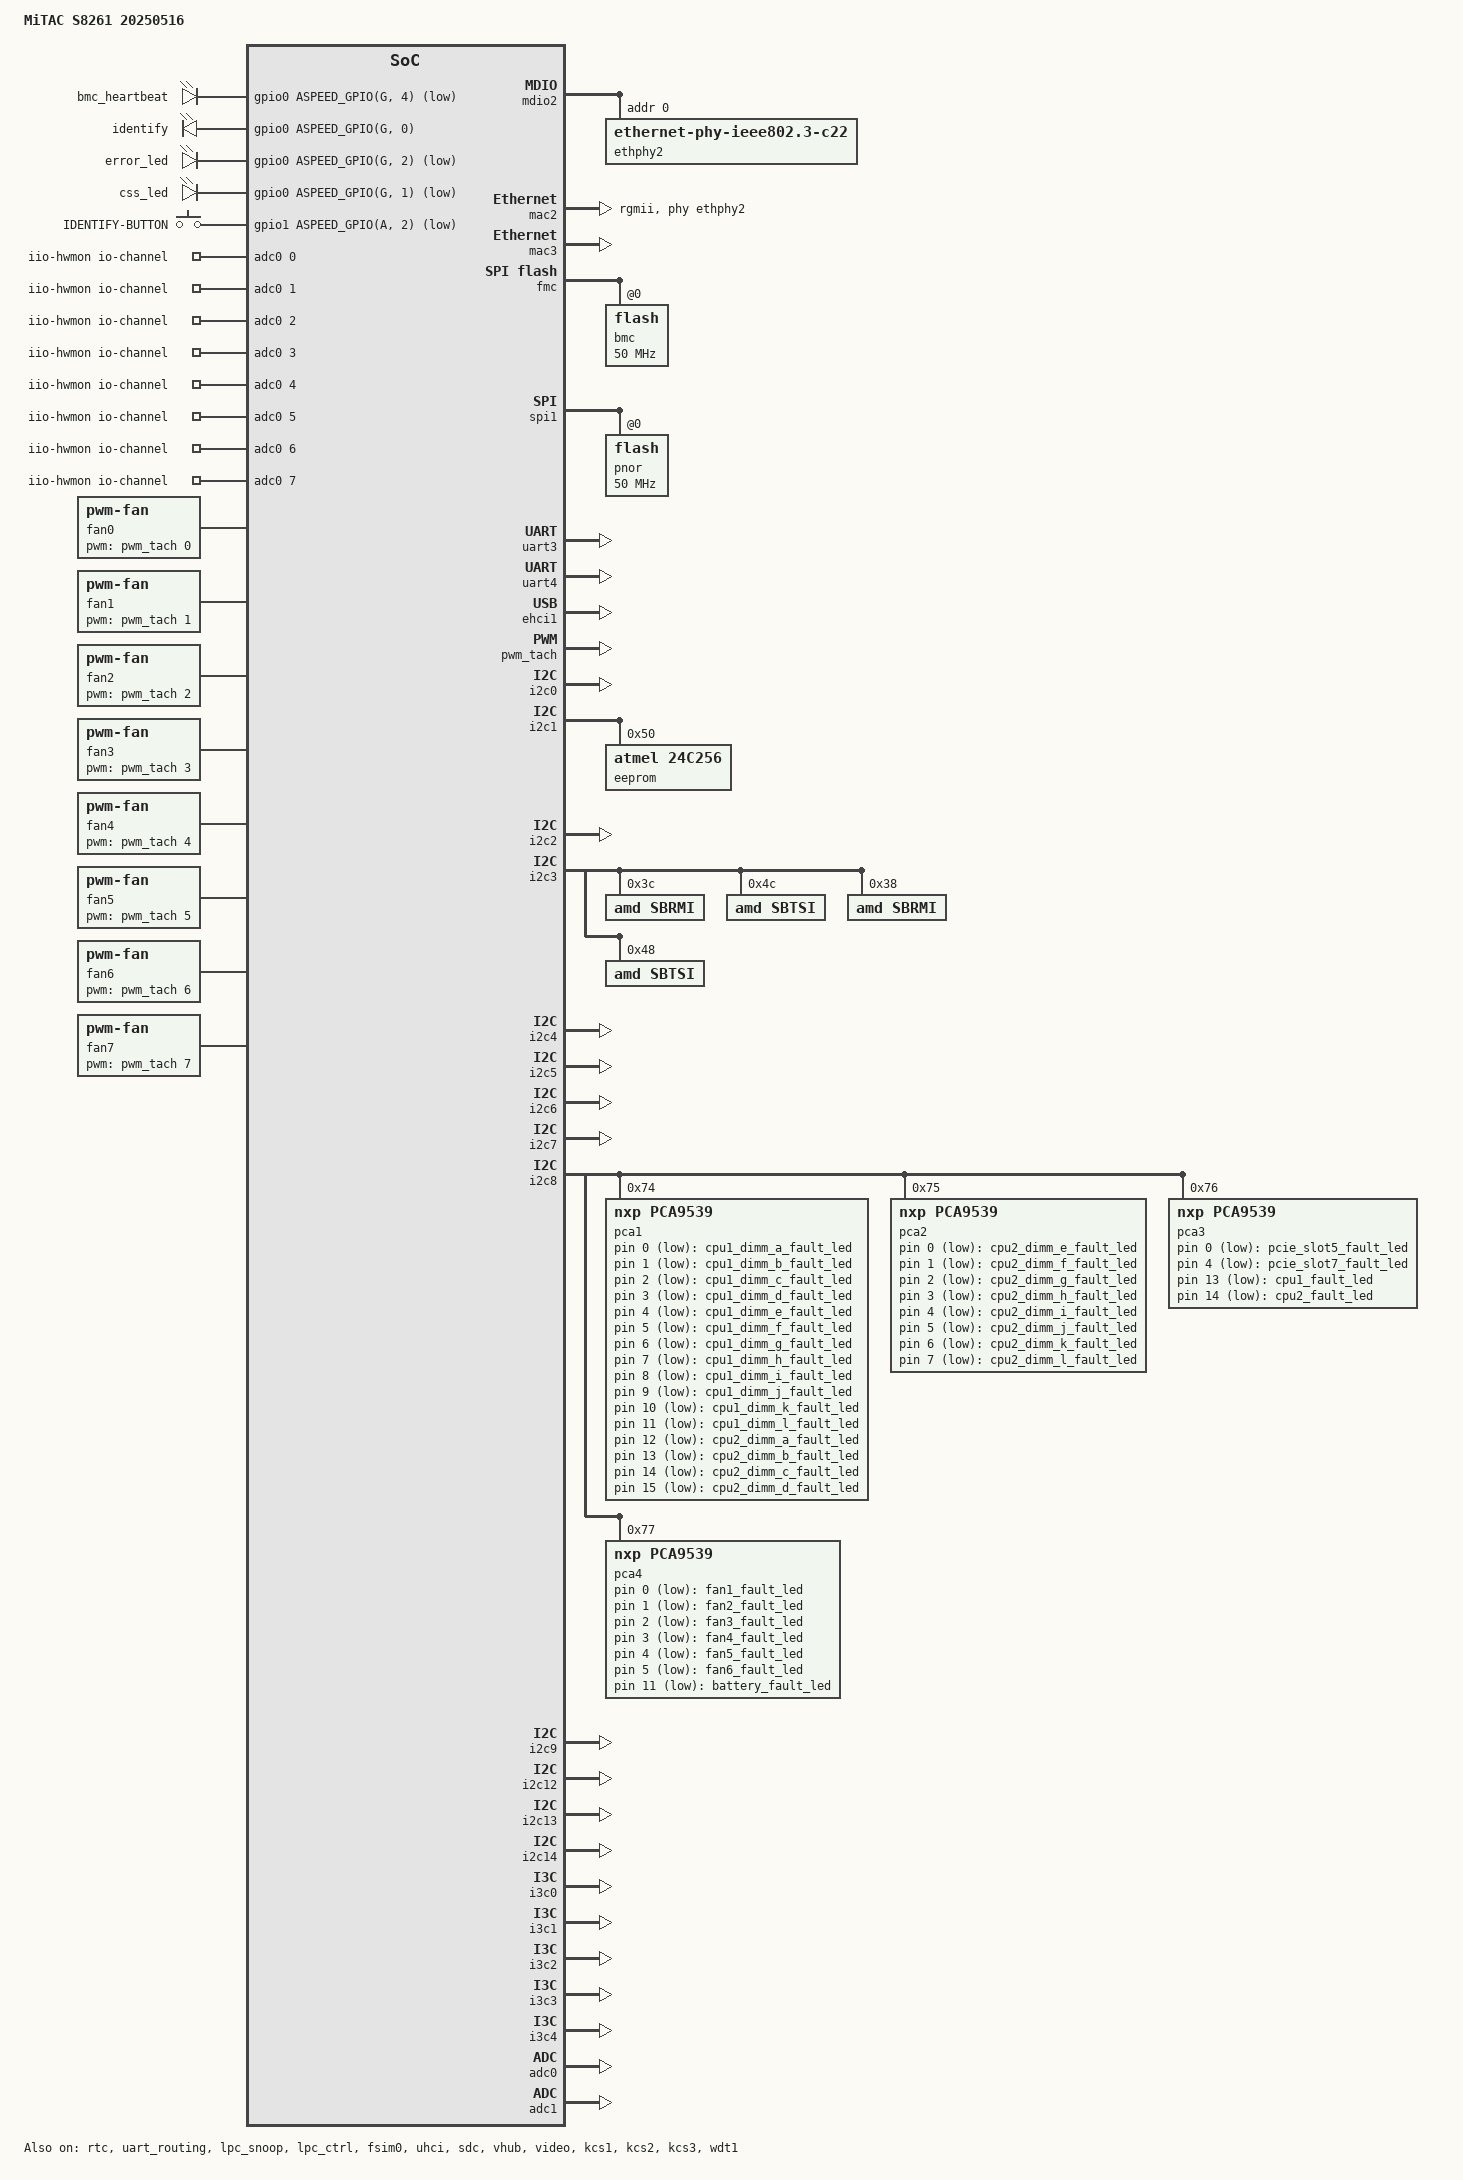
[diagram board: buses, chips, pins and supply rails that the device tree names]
// SPDX-License-Identifier: GPL-2.0-or-later
// Copyright 2019 IBM Corp.

/dts-v1/;

#include "aspeed-g6.dtsi"
#include <dt-bindings/gpio/aspeed-gpio.h>

/ {
	model = "MiTAC S8261 20250516";
	#include "aspeed-bmc-mitac-2600-reserved-memory.dtsi"

        leds {
                compatible = "gpio-leds";

                bmc_heartbeat {
                        gpios = <&gpio0 ASPEED_GPIO(G, 4) GPIO_ACTIVE_LOW>;
                        default-state = "on";
                };
                identify {
                        gpios = <&gpio0 ASPEED_GPIO(G, 0) GPIO_ACTIVE_HIGH>;
                        default-state = "off";
                };
                error_led {
                        gpios = <&gpio0 ASPEED_GPIO(G, 2) GPIO_ACTIVE_LOW>;
                        default-state = "off";
                };
                css_led {
                        gpios = <&gpio0 ASPEED_GPIO(G, 1) GPIO_ACTIVE_LOW>;
                        default-state = "off";
                };
                cpu1_dimm_a_fault_led {
                        gpios = <&pca1 0 GPIO_ACTIVE_LOW>;
                        default-state = "off";
                };
                cpu1_dimm_b_fault_led {
                        gpios = <&pca1 1 GPIO_ACTIVE_LOW>;
                        default-state = "off";
                };
                cpu1_dimm_c_fault_led {
                        gpios = <&pca1 2 GPIO_ACTIVE_LOW>;
                        default-state = "off";
                };
                cpu1_dimm_d_fault_led {
                        gpios = <&pca1 3 GPIO_ACTIVE_LOW>;
                        default-state = "off";
                };
                cpu1_dimm_e_fault_led {
                        gpios = <&pca1 4 GPIO_ACTIVE_LOW>;
                        default-state = "off";
                };
                cpu1_dimm_f_fault_led {
                        gpios = <&pca1 5 GPIO_ACTIVE_LOW>;
                        default-state = "off";
                };
                cpu1_dimm_g_fault_led {
                        gpios = <&pca1 6 GPIO_ACTIVE_LOW>;
                        default-state = "off";
                };
                cpu1_dimm_h_fault_led {
                        gpios = <&pca1 7 GPIO_ACTIVE_LOW>;
                        default-state = "off";
                };
                cpu1_dimm_i_fault_led {
                        gpios = <&pca1 8 GPIO_ACTIVE_LOW>;
                        default-state = "off";
                };
                cpu1_dimm_j_fault_led {
                        gpios = <&pca1 9 GPIO_ACTIVE_LOW>;
                        default-state = "off";
                };
                cpu1_dimm_k_fault_led {
                        gpios = <&pca1 10 GPIO_ACTIVE_LOW>;
                        default-state = "off";
                };
                cpu1_dimm_l_fault_led {
                        gpios = <&pca1 11 GPIO_ACTIVE_LOW>;
                        default-state = "off";
                };
                cpu2_dimm_a_fault_led {
                        gpios = <&pca1 12 GPIO_ACTIVE_LOW>;
                        default-state = "off";
                };
                cpu2_dimm_b_fault_led {
                        gpios = <&pca1 13 GPIO_ACTIVE_LOW>;
                        default-state = "off";
                };
                cpu2_dimm_c_fault_led {
                        gpios = <&pca1 14 GPIO_ACTIVE_LOW>;
                        default-state = "off";
                };
                cpu2_dimm_d_fault_led {
                        gpios = <&pca1 15 GPIO_ACTIVE_LOW>;
                        default-state = "off";
                };
                cpu2_dimm_e_fault_led {
                        gpios = <&pca2 0 GPIO_ACTIVE_LOW>;
                        default-state = "off";
                };
                cpu2_dimm_f_fault_led {
                        gpios = <&pca2 1 GPIO_ACTIVE_LOW>;
                        default-state = "off";
                };
                cpu2_dimm_g_fault_led {
                        gpios = <&pca2 2 GPIO_ACTIVE_LOW>;
                        default-state = "off";
                };
                cpu2_dimm_h_fault_led {
                        gpios = <&pca2 3 GPIO_ACTIVE_LOW>;
                        default-state = "off";
                };
                cpu2_dimm_i_fault_led {
                        gpios = <&pca2 4 GPIO_ACTIVE_LOW>;
                        default-state = "off";
                };
                cpu2_dimm_j_fault_led {
                        gpios = <&pca2 5 GPIO_ACTIVE_LOW>;
                        default-state = "off";
                };
                cpu2_dimm_k_fault_led {
                        gpios = <&pca2 6 GPIO_ACTIVE_LOW>;
                        default-state = "off";
                };
                cpu2_dimm_l_fault_led {
                        gpios = <&pca2 7 GPIO_ACTIVE_LOW>;
                        default-state = "off";
                };
                pcie_slot5_fault_led {
                        gpios = <&pca3 0 GPIO_ACTIVE_LOW>;
                        default-state = "off";
                };
                pcie_slot7_fault_led {
                        gpios = <&pca3 4 GPIO_ACTIVE_LOW>;
                        default-state = "off";
                };
                cpu1_fault_led {
                        gpios = <&pca3 13 GPIO_ACTIVE_LOW>;
                        default-state = "off";
                };
                cpu2_fault_led {
                        gpios = <&pca3 14 GPIO_ACTIVE_LOW>;
                        default-state = "off";
                };
                fan1_fault_led {
                        gpios = <&pca4 0 GPIO_ACTIVE_LOW>;
                        default-state = "off";
                };
                fan2_fault_led {
                        gpios = <&pca4 1 GPIO_ACTIVE_LOW>;
                        default-state = "off";
                };
                fan3_fault_led {
                        gpios = <&pca4 2 GPIO_ACTIVE_LOW>;
                        default-state = "off";
                };
                fan4_fault_led {
                        gpios = <&pca4 3 GPIO_ACTIVE_LOW>;
                        default-state = "off";
                };
                fan5_fault_led {
                        gpios = <&pca4 4 GPIO_ACTIVE_LOW>;
                        default-state = "off";
                };
                fan6_fault_led {
                        gpios = <&pca4 5 GPIO_ACTIVE_LOW>;
                        default-state = "off";
                };
                battery_fault_led {
                        gpios = <&pca4 11 GPIO_ACTIVE_LOW>;
                        default-state = "off";
                };
        };

#include "aspeed-bmc-mitac-input-event-code.dtsi"
        gpio-keys {
                compatible = "gpio-keys";
                event-identify-button {
                        label = "IDENTIFY-BUTTON";
                        gpios = <&gpio1 ASPEED_GPIO(A, 2) GPIO_ACTIVE_LOW>;
                        linux,code = <ASPEED_GPIO(A, 2)>;
                };
        };

        iio-hwmon {
                compatible = "iio-hwmon";
                io-channels = <&adc0 0>, <&adc0 1>, <&adc0 2>, <&adc0 3>,
                        <&adc0 4>, <&adc0 5>, <&adc0 6>, <&adc0 7>,
                        <&adc1 0>, <&adc1 1>, <&adc1 2>, <&adc1 3>,
                        <&adc1 4>, <&adc1 5>, <&adc1 6>, <&adc1 7>;
        };

        fan0: pwm-fan0 {
                compatible = "pwm-fan";
                pwms = <&pwm_tach 0 40000 0>;   /* Target freq:25 kHz */
                cooling-min-state = <0>;
                cooling-max-state = <3>;
                #cooling-cells = <2>;
                cooling-levels = <0 15 128 255>;
        };

        fan1: pwm-fan1 {
                compatible = "pwm-fan";
                pwms = <&pwm_tach 1 40000 0>;   /* Target freq:25 kHz */
                cooling-min-state = <0>;
                cooling-max-state = <3>;
                #cooling-cells = <2>;
                cooling-levels = <0 15 128 255>;
        };

        fan2: pwm-fan2 {
                compatible = "pwm-fan";
                pwms = <&pwm_tach 2 40000 0>;   /* Target freq:25 kHz */
                cooling-min-state = <0>;
                cooling-max-state = <3>;
                #cooling-cells = <2>;
                cooling-levels = <0 15 128 255>;
        };

        fan3: pwm-fan3 {
                compatible = "pwm-fan";
                pwms = <&pwm_tach 3 40000 0>;   /* Target freq:25 kHz */
                cooling-min-state = <0>;
                cooling-max-state = <3>;
                #cooling-cells = <2>;
                cooling-levels = <0 15 128 255>;
        };

        fan4: pwm-fan4 {
                compatible = "pwm-fan";
                pwms = <&pwm_tach 4 40000 0>;   /* Target freq:25 kHz */
                cooling-min-state = <0>;
                cooling-max-state = <3>;
                #cooling-cells = <2>;
                cooling-levels = <0 15 128 255>;
        };

        fan5: pwm-fan5 {
                compatible = "pwm-fan";
                pwms = <&pwm_tach 5 40000 0>;   /* Target freq:25 kHz */
                cooling-min-state = <0>;
                cooling-max-state = <3>;
                #cooling-cells = <2>;
                cooling-levels = <0 15 128 255>;
        };

        fan6: pwm-fan6 {
                compatible = "pwm-fan";
                pwms = <&pwm_tach 6 40000 0>;   /* Target freq:25 kHz */
                cooling-min-state = <0>;
                cooling-max-state = <3>;
                #cooling-cells = <2>;
                cooling-levels = <0 15 128 255>;
        };

        fan7: pwm-fan7 {
                compatible = "pwm-fan";
                pwms = <&pwm_tach 7 40000 0>;   /* Target freq:25 kHz */
                cooling-min-state = <0>;
                cooling-max-state = <3>;
                #cooling-cells = <2>;
                cooling-levels = <0 15 128 255>;
        };
};

&mdio2 {
	status = "okay";

	ethphy2: ethernet-phy@2 {
		compatible = "ethernet-phy-ieee802.3-c22";
		reg = <0>;
	};
};

&mac2 {
	status = "okay";

	phy-mode = "rgmii";
	phy-handle = <&ethphy2>;

	pinctrl-names = "default";
	pinctrl-0 = <&pinctrl_rgmii3_default>;
};

&mac3 {
        status = "okay";
        pinctrl-names = "default";
        pinctrl-0 = <&pinctrl_rmii4_default>;
	clock-names = "MACCLK", "RCLK";
        use-ncsi;
};


&rtc {
	status = "okay";
};

&fmc {
	status = "okay";
	flash@0 {
		status = "okay";
		m25p,fast-read;
		label = "bmc";
		spi-rx-bus-width = <4>;
		spi-max-frequency = <50000000>;
#include "MiOBMC-flash-layout-64.dtsi"
	};
};

&spi1 {
	status = "okay";
	pinctrl-names = "default";
	pinctrl-0 = <&pinctrl_spi1_default>;

	flash@0 {
		status = "okay";
		m25p,fast-read;
		label = "pnor";
		spi-rx-bus-width = <1>;
		spi-max-frequency = <50000000>;
	};
};

&uart3 {
        status = "okay";
};

&uart4 {
        status = "okay";
};

&uart5 {
	// Workaround for A0
	compatible = "snps,dw-apb-uart";
};

&uart_routing {
        status = "okay";
};

&lpc_snoop {
	status = "okay";
	snoop-ports = <0x80>, <0x81>;
};

&lpc_ctrl {
	status = "okay";
};
/*
&lpc_pcc {
        port-addr = <0x80>;
        dma-mode;
	// It is required to be 4 bytes mode when A2600-15 is activated.
        A2600-15;
        memory-region = <&pcc_memory>;
        rec-mode = <0x1>;
        port-addr-hbits-select = <0x1>;
        port-addr-xbits = <0x3>;

        status = "okay";
};
*/
&fsim0 {
	status = "okay";
};

&ehci1 {
	status = "okay";
};

&uhci {
	status = "okay";
};

&sdc {
	status = "okay";
};

&vhub {
	status = "okay";
	pinctrl-names = "default";
        pinctrl-0 = <&pinctrl_usb2ad_default>;
};

&video {
	status = "okay";
	memory-region = <&video_engine_memory>;
};

&kcs1 {
        kcs-io-addr = <0xca0>;
	kcs-channel = <1>;
        status = "okay";
};

&kcs2 {
        kcs-io-addr = <0xca8>;
	kcs-channel = <2>;
        status = "okay";
};

&kcs3 {
        kcs-io-addr = <0xca2>;
	kcs-channel = <3>;
        status = "okay";
};

&wdt1 {
        status = "okay";
        pinctrl-names = "default";
        pinctrl-0 = <&pinctrl_wdtrst1_default>;
        aspeed,reset-type = "soc";
        aspeed,external-signal;
        aspeed,ext-push-pull;
        aspeed,ext-active-high;
        aspeed,ext-pulse-duration = <256>;
};

/*
&wdt2 {
        status = "okay";
        pinctrl-names = "default";
        pinctrl-0 = <&pinctrl_wdtrst2_default>;
        aspeed,reset-type = "system";
};
*/

&pwm_tach {
        status = "okay";
        pinctrl-names = "default";
        pinctrl-0 = <&pinctrl_pwm0_default &pinctrl_pwm1_default
                     &pinctrl_pwm2_default &pinctrl_pwm3_default
                     &pinctrl_pwm4_default &pinctrl_pwm5_default
                     &pinctrl_pwm6_default &pinctrl_pwm7_default
                     &pinctrl_tach0_default &pinctrl_tach1_default
                     &pinctrl_tach2_default &pinctrl_tach3_default
                     &pinctrl_tach4_default &pinctrl_tach5_default
                     &pinctrl_tach6_default &pinctrl_tach7_default
                     &pinctrl_tach8_default &pinctrl_tach9_default
                     &pinctrl_tach10_default &pinctrl_tach11_default
                     &pinctrl_tach12_default &pinctrl_tach13_default
                     &pinctrl_tach14_default &pinctrl_tach15_default
                    >;

        fan@0 {
                tach-ch = /bits/ 8 <0x00>;
        };
        fan@1 {
                tach-ch = /bits/ 8 <0x01>;
        };
        fan@2 {
                tach-ch = /bits/ 8 <0x02>;
        };
        fan@3 {
                tach-ch = /bits/ 8 <0x03>;
        };
        fan@4 {
                tach-ch = /bits/ 8 <0x04>;
        };
        fan@5 {
                tach-ch = /bits/ 8 <0x05>;
        };
        fan@6 {
                tach-ch = /bits/ 8 <0x06>;
        };
        fan@7 {
                tach-ch = /bits/ 8 <0x07>;
        };
        fan@8 {
                tach-ch = /bits/ 8 <0x08>;
        };
        fan@9 {
                tach-ch = /bits/ 8 <0x09>;
        };
        fan@10 {
                tach-ch = /bits/ 8 <0x0A>;
        };
        fan@11 {
                tach-ch = /bits/ 8 <0x0B>;
        };
        fan@12 {
                tach-ch = /bits/ 8 <0x0C>;
        };
        fan@14 {
                tach-ch = /bits/ 8 <0x0E>;
        };
        fan@15 {
                tach-ch = /bits/ 8 <0x0F>;
        };
};

&mbox {
        status = "okay";
};

&i2c0 {
	status = "okay";
};

&i2c1 {
	status = "okay";
	// MB FRU
	eeprom@50 {
		compatible = "atmel,24c256";
		reg = <0x50>;
	};

};
&i2c2 {
	status = "okay";
};
&i2c3 {
	// P0 APML
	status = "okay";

	sbrmi@3c {
	    compatible = "amd,sbrmi";
		reg = <0x3c>;
	};

	sbtsi@4c {
		compatible = "amd,sbtsi";
		reg = <0x4c>;
	};

    // P1 APML
	sbrmi@38 {
	    compatible = "amd,sbrmi";
		reg = <0x38>;
	};

	sbtsi@48 {
		compatible = "amd,sbtsi";
		reg = <0x48>;
	};
};
&i2c4 {
	status = "okay";
};
&i2c5 {
	status = "okay";
};
&i2c6 {
	status = "okay";
};
&i2c7 {
	status = "okay";
};
&i2c8 {
	status = "okay";

	pca1: pca9539@74 {
		compatible = "nxp,pca9539";
		reg = <0x74>;
		#address-cells = <1>;
		#size-cells = <0>;
		gpio-controller;
		#gpio-cells = <2>;

		gpio-line-names =
		"cpu1_dimm_a_fault_led","cpu1_dimm_b_fault_led",
		"cpu1_dimm_c_fault_led","cpu1_dimm_d_fault_led",
		"cpu1_dimm_e_fault_led","cpu1_dimm_f_fault_led",
		"cpu1_dimm_g_fault_led","cpu1_dimm_h_fault_led",
		"cpu1_dimm_i_fault_led","cpu1_dimm_j_fault_led",
		"cpu1_dimm_k_fault_led","cpu1_dimm_l_fault_led",
		"cpu2_dimm_a_fault_led","cpu2_dimm_b_fault_led",
		"cpu2_dimm_c_fault_led","cpu2_dimm_d_fault_led";
	};

	pca2: pca9539@75 {
		compatible = "nxp,pca9539";
		reg = <0x75>;
		#address-cells = <1>;
		#size-cells = <0>;
		gpio-controller;
		#gpio-cells = <2>;

		gpio-line-names =
		"cpu2_dimm_e_fault_led","cpu2_dimm_f_fault_led",
		"cpu2_dimm_g_fault_led","cpu2_dimm_h_fault_led",
		"cpu2_dimm_i_fault_led","cpu2_dimm_j_fault_led",
		"cpu2_dimm_k_fault_led","cpu2_dimm_l_fault_led",
		"","","","",
		"","","","";
	};

	pca3: pca9539@76 {
		compatible = "nxp,pca9539";
		reg = <0x76>;
		#address-cells = <1>;
		#size-cells = <0>;
		gpio-controller;
		#gpio-cells = <2>;

		gpio-line-names =
		"pcie_slot5_fault_led","",
		"","",
		"pcie_slot7_fault_led","",
		"","",
		"","","","",
		"","cpu1_fault_led","cpu2_fault_led","";
	};

	pca4: pca9539@77 {
		compatible = "nxp,pca9539";
		reg = <0x77>;
		#address-cells = <1>;
		#size-cells = <0>;
		gpio-controller;
		#gpio-cells = <2>;

		gpio-line-names =
		"fan1_fault_led","fan2_fault_led",
		"fan3_fault_led","fan4_fault_led",
		"fan5_fault_led","fan6_fault_led",
		"","",
		"","","","battery_fault_led",
		"","","","";
	};
};
&i2c9 {
	status = "okay";
};

/* M24 MDC3
&i2c10 {
	status = "okay";
};
*/

&i2c12 {
	status = "okay";
};
&i2c13 {
	status = "okay";
};
&i2c14 {
	status = "okay";
};

&i3c0 {
        status = "okay";
};

&i3c1 {
        status = "okay";
};

&i3c2 {
        status = "okay";
};

&i3c3 {
        status = "okay";
};

&i3c4 {
        status = "okay";
};

&adc0 {
        status = "okay";
        pinctrl-0 = <&pinctrl_adc0_default &pinctrl_adc1_default
                        &pinctrl_adc2_default &pinctrl_adc3_default
                        &pinctrl_adc4_default &pinctrl_adc5_default
                        &pinctrl_adc6_default &pinctrl_adc7_default>;
};

&adc1 {
        status = "okay";
        pinctrl-0 = <&pinctrl_adc8_default &pinctrl_adc9_default
			&pinctrl_adc10_default &pinctrl_adc11_default
			&pinctrl_adc12_default &pinctrl_adc13_default
			&pinctrl_adc14_default &pinctrl_adc15_default>;
};

&gpio0 {
	gpio-line-names =
	/*A0-A7*/	"gpio-a0","","","","","","","",
	/*B0-B7*/	"gpio-b0","chassis-power-good","","","","","","",
	/*C0-C7*/	"gpio-c0","","","",
			"","","","",
	/*D0-D7*/	"gpio-d0","","","",
			"","","","",
	/*E0-E7*/	"gpio-e0","","","","","","","",
	/*F0-F7*/	"gpio-f0","","",
			"","","",
			"","",
	/*G0-G7*/	"","","","",
			"","spi-mux-bios","","bmc-ready-n",
	/*H0-H7*/	"gpio-h0","","",
			"","","","","",
	/*I0-I7*/	"gpio-i0","","","","","","","",
	/*J0-J7*/	"gpio-j0","","","","","","","",
	/*K0-K7*/	"gpio-k0","","","","","","","",
	/*L0-L7*/	"gpio-l0","","","","","","","",
	/*M0-M7*/	"gpio-00","","","",
			"","","","",
	/*N0-N7*/	"gpio-n0","nmi-control","","",
			"","","","",
	/*O0-O7*/	"gpio-o0","","","CMOS_BAT_SCALED_EN_N","","","","",
	/*P0-P7*/	"reset-button","reset-control","power-button","power-control",
			"nmi-button","","","",
	/*Q0-Q7*/	"gpio-q0","","","","","","","",
	/*R0-R7*/	"gpio-r0","","","","","","","",
	/*S0-S7*/	"gpio-s0","","","",
			"","","","",
	/*T0-T7*/	"gpio-t0","","","","","","","",
	/*U0-U7*/	"gpio-u0","","","","","","","",
	/*V0-V7*/	"SIO_S3","SIO_S5","","SIO_ONCONTROL",
			"SIO_POWER_GOOD","","","",
	/*W0-W7*/	"gpio-w0","","","",
			"","","","",
	/*X0-X7*/	"gpio-x0","cpu0-thermtrip",
			"cpu1-thermtrip","",
			"","",
			"","",
	/*Y0-Y7*/	"gpio-y0","","bios-post-complete","","","","","",
	/*Z0-Z7*/	"gpio-z0","","","","","","","";
};

&gpio1 {
	gpio-line-names =
	/*18A0-18A7*/	"","","identify-button","",
			"","","","",
	/*18B0-18B7*/	"","","","","","","","",
	/*18C0-18C7*/	"","","","",
			"","","","",
	/*18D0-18D7*/	"","","","","","","","",
	/*18E0-18E3*/	"","","","";
};

#include "aspeed-bmc-mitac-common.dtsi"
#include "aspeed-bmc-mitac-2600-enable-dp.dtsi"

